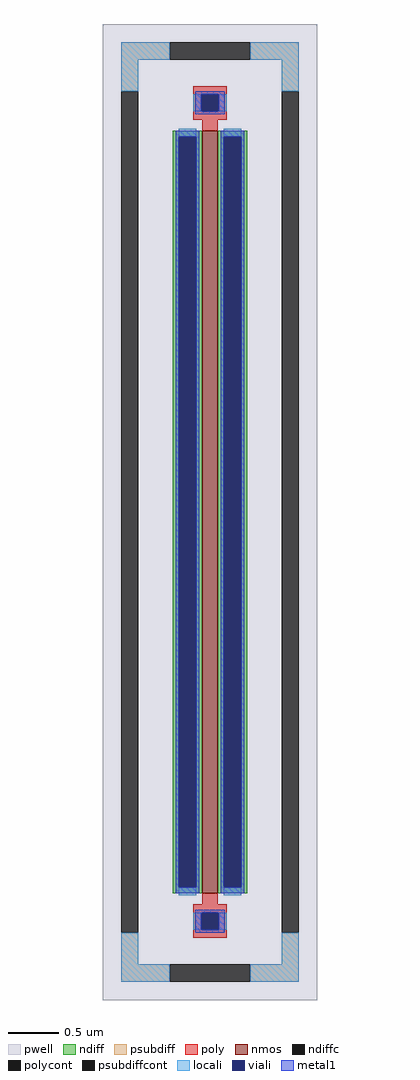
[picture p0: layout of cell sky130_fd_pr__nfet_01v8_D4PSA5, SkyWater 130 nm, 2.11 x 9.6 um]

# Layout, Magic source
magic
tech sky130A
magscale 1 2
<< pwell >>
rect -211 -960 211 960
<< nmos >>
rect -15 -750 15 750
<< ndiff >>
rect -73 738 -15 750
rect -73 -738 -61 738
rect -27 -738 -15 738
rect -73 -750 -15 -738
rect 15 738 73 750
rect 15 -738 27 738
rect 61 -738 73 738
rect 15 -750 73 -738
<< ndiffc >>
rect -61 -738 -27 738
rect 27 -738 61 738
<< psubdiff >>
rect -175 890 -79 924
rect 79 890 175 924
rect -175 828 -141 890
rect 141 828 175 890
rect -175 -890 -141 -828
rect 141 -890 175 -828
rect -175 -924 -79 -890
rect 79 -924 175 -890
<< psubdiffcont >>
rect -79 890 79 924
rect -175 -828 -141 828
rect 141 -828 175 828
rect -79 -924 79 -890
<< poly >>
rect -33 822 33 838
rect -33 788 -17 822
rect 17 788 33 822
rect -33 772 33 788
rect -15 750 15 772
rect -15 -772 15 -750
rect -33 -788 33 -772
rect -33 -822 -17 -788
rect 17 -822 33 -788
rect -33 -838 33 -822
<< polycont >>
rect -17 788 17 822
rect -17 -822 17 -788
<< locali >>
rect -175 890 -79 924
rect 79 890 175 924
rect -175 828 -141 890
rect 141 828 175 890
rect -33 788 -17 822
rect 17 788 33 822
rect -61 738 -27 754
rect -61 -754 -27 -738
rect 27 738 61 754
rect 27 -754 61 -738
rect -33 -822 -17 -788
rect 17 -822 33 -788
rect -175 -890 -141 -828
rect 141 -890 175 -828
rect -175 -924 -79 -890
rect 79 -924 175 -890
<< viali >>
rect -17 788 17 822
rect -61 -738 -27 738
rect 27 -738 61 738
rect -17 -822 17 -788
<< metal1 >>
rect -29 822 29 828
rect -29 788 -17 822
rect 17 788 29 822
rect -29 782 29 788
rect -67 738 -21 750
rect -67 -738 -61 738
rect -27 -738 -21 738
rect -67 -750 -21 -738
rect 21 738 67 750
rect 21 -738 27 738
rect 61 -738 67 738
rect 21 -750 67 -738
rect -29 -788 29 -782
rect -29 -822 -17 -788
rect 17 -822 29 -788
rect -29 -828 29 -822
<< properties >>
string FIXED_BBOX -158 -907 158 907
string gencell sky130_fd_pr__nfet_01v8
string library sky130
string parameters w 7.5 l 0.15 m 1 nf 1 diffcov 100 polycov 100 guard 1 glc 1 grc 1 gtc 1 gbc 1 tbcov 100 rlcov 100 topc 1 botc 1 poverlap 0 doverlap 1 lmin 0.15 wmin 0.42 compatible {sky130_fd_pr__nfet_01v8 sky130_fd_pr__nfet_01v8_lvt  sky130_fd_bs_flash__special_sonosfet_star  sky130_fd_pr__nfet_g5v0d10v5 sky130_fd_pr__nfet_05v0_nvt  sky130_fd_pr__nfet_03v3_nvt} full_metal 1 viasrc 100 viadrn 100 viagate 100 viagb 0 viagr 0 viagl 0 viagt 0
<< end >>
